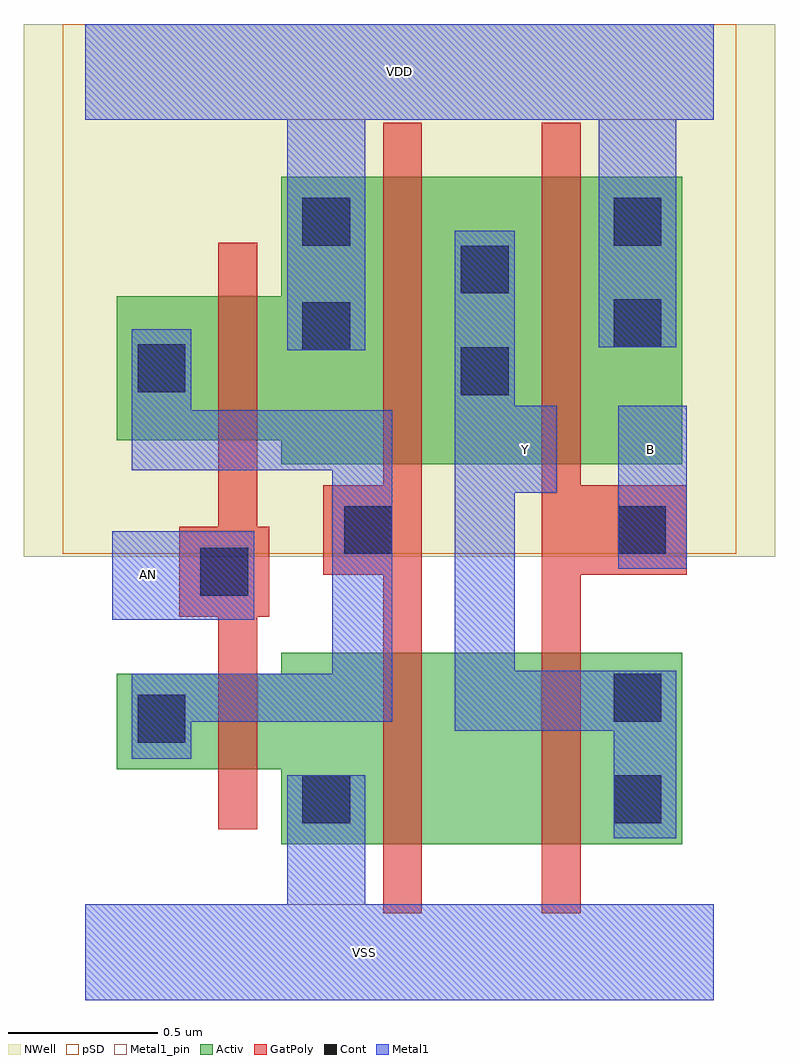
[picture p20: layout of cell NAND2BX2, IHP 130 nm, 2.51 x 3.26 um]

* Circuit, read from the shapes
.subckt NAND2BX2 AN B VDD VSS Y
XM1 VSS AN n1 VSUBS sg13_lv_nmos w=0.32u l=0.13u
XM2 n2 n1 VSS VSUBS sg13_lv_nmos w=0.64u l=0.13u
XM3 Y B n2 VSUBS sg13_lv_nmos w=0.64u l=0.13u
XM4 VDD AN n1 n3 sg13_lv_pmos w=0.48u l=0.13u
XM5 Y n1 VDD n3 sg13_lv_pmos w=0.96u l=0.13u
XM6 VDD B Y n3 sg13_lv_pmos w=0.96u l=0.13u
.ends

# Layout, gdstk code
import gdstk
lib = gdstk.Library(unit=1e-6, precision=1e-09)
def R(c, l, rs):  # rectangles x0, y0, x1, y1
    for r in rs: c.add(gdstk.rectangle(r[:2], r[2:], *l))
def P(c, l, *ps):  # polygons
    for p in ps: c.add(gdstk.Polygon(p, *l))
Activ = (1, 0)
GatPoly = (5, 0)
Cont = (6, 0)
Metal1 = (8, 0)
Metal1_pin = (8, 2)
pSD = (14, 0)
NWell = (31, 0)

nand2bx2 = lib.new_cell('NAND2BX2')
P(nand2bx2, Activ, [(0.655,0.36),(0.655,0.61),(0.105,0.61),(0.105,0.93),(0.655,0.93),(0.655,1),(1.995,1),(1.995,0.36)],
  [(0.655,1.63),(0.655,1.71),(0.105,1.71),(0.105,2.19),(0.655,2.19),(0.655,2.59),(1.995,2.59),(1.995,1.63)])
P(nand2bx2, GatPoly, [(1.525,0.13),(1.525,2.77),(1.655,2.77),(1.655,1.56),(2.01,1.56),(2.01,1.26),(1.655,1.26),(1.655,0.13)],
  [(0.445,0.41),(0.445,1.12),(0.315,1.12),(0.315,1.42),(0.445,1.42),(0.445,2.37),(0.575,2.37),(0.575,1.42),(0.615,1.42),(0.615,1.12),(0.575,1.12),(0.575,0.41)],
  [(0.995,0.13),(0.995,1.26),(0.795,1.26),(0.795,1.56),(0.995,1.56),(0.995,2.77),(1.125,2.77),(1.125,0.13)])
R(nand2bx2, Cont, [(0.725,0.43,0.885,0.59), (1.765,0.43,1.925,0.59), (0.175,0.7,0.335,0.86), (1.765,0.77,1.925,0.93), (0.385,1.19,0.545,1.35), (0.865,1.33,1.025,1.49), (1.78,1.33,1.94,1.49), (1.255,1.86,1.415,2.02), (0.175,1.87,0.335,2.03), (0.725,2.01,0.885,2.17), (1.765,2.02,1.925,2.18), (1.255,2.2,1.415,2.36), (0.725,2.36,0.885,2.52), (1.765,2.36,1.925,2.52)])
R(nand2bx2, Metal1, [(0.09,1.11,0.565,1.405), (1.78,1.28,2.01,1.825)])
P(nand2bx2, Metal1, [(0.675,2.01),(0.675,2.78),(0,2.78),(0,3.1),(2.1,3.1),(2.1,2.78),(1.975,2.78),(1.975,2.02),(1.715,2.02),(1.715,2.78),(0.935,2.78),(0.935,2.01)],
  [(0,-0.16),(0,0.16),(0.675,0.16),(0.675,0.59),(0.935,0.59),(0.935,0.16),(2.1,0.16),(2.1,-0.16)],
  [(1.765,0.38),(1.765,0.74),(1.235,0.74),(1.235,2.41),(1.435,2.41),(1.435,1.825),(1.575,1.825),(1.575,1.535),(1.435,1.535),(1.435,0.94),(1.975,0.94),(1.975,0.38)],
  [(0.155,0.645),(0.155,0.93),(0.825,0.93),(0.825,1.61),(0.155,1.61),(0.155,2.08),(0.355,2.08),(0.355,1.81),(1.025,1.81),(1.025,0.77),(0.355,0.77),(0.355,0.645)])
R(nand2bx2, Metal1_pin, [(0,-0.16,2.1,0.16), (0,-0.16,2.1,0.16), (0.09,1.11,0.565,1.405), (1.78,1.28,2.01,1.825), (0,2.78,2.1,3.1), (0,2.78,2.1,3.1)])
P(nand2bx2, Metal1_pin, [(1.765,0.38),(1.765,0.74),(1.235,0.74),(1.235,2.41),(1.435,2.41),(1.435,1.825),(1.575,1.825),(1.575,1.535),(1.435,1.535),(1.435,0.94),(1.975,0.94),(1.975,0.38)])
R(nand2bx2, pSD, [(-0.075,1.33,2.175,3.1)])
R(nand2bx2, NWell, [(-0.205,1.32,2.305,3.1)])
nand2bx2.add(gdstk.Label('B', (1.89,1.68), layer=8, texttype=25))
nand2bx2.add(gdstk.Label('Y', (1.47,1.68), layer=8, texttype=25))
nand2bx2.add(gdstk.Label('AN', (0.21,1.26), layer=8, texttype=25))
nand2bx2.add(gdstk.Label('VDD', (1.05,2.94), layer=8, texttype=25))
nand2bx2.add(gdstk.Label('VSS', (0.932,0), layer=8, texttype=25))

lib.write_gds('NAND2BX2.gds')
